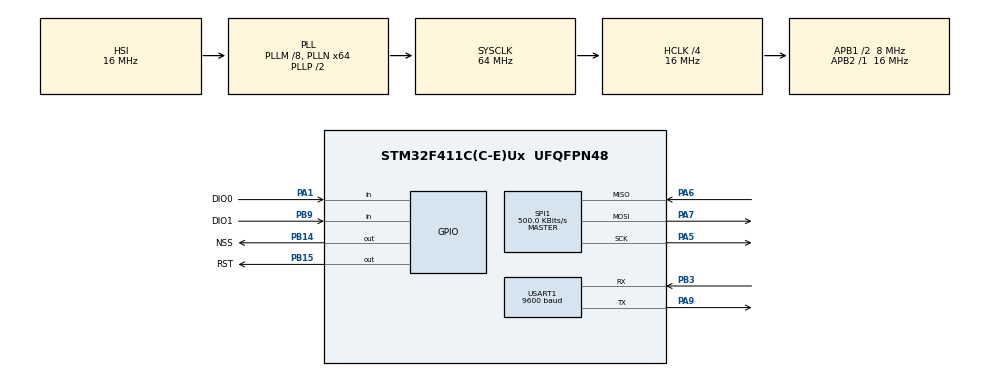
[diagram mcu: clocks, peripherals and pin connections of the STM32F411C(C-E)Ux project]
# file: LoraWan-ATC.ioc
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FREERTOS.Tasks01=defaultTask,48,256,StartDefaultTask,Default,NULL,Dynamic,NULL,NULL
Mcu.Family=STM32F4
Mcu.Name=STM32F411C(C-E)Ux
Mcu.Package=UFQFPN48
NVIC.PriorityGroup=NVIC_PRIORITYGROUP_4
PA1.GPIO_Label=DIO0
PA1.GPIO_PuPd=GPIO_NOPULL
PA1.Signal=GPIO_Input
PA13.Mode=Serial_Wire
PA13.Signal=SYS_JTMS-SWDIO
PA14.Mode=Serial_Wire
PA14.Signal=SYS_JTCK-SWCLK
PA5.GPIO_PuPd=GPIO_PULLDOWN
PA5.Mode=Full_Duplex_Master
PA5.Signal=SPI1_SCK
PA6.Mode=Full_Duplex_Master
PA6.Signal=SPI1_MISO
PA7.GPIO_PuPd=GPIO_NOPULL
PA7.Mode=Full_Duplex_Master
PA7.Signal=SPI1_MOSI
PA9.Mode=Asynchronous
PA9.Signal=USART1_TX
PB14.GPIO_Label=NSS
PB14.GPIO_ModeDefaultOutputPP=GPIO_MODE_OUTPUT_OD
PB14.GPIO_PuPd=GPIO_NOPULL
PB14.GPIO_Speed=GPIO_SPEED_FREQ_VERY_HIGH
PB14.Signal=GPIO_Output
PB15.GPIO_Label=RST
PB15.GPIO_ModeDefaultOutputPP=GPIO_MODE_OUTPUT_OD
PB15.GPIO_PuPd=GPIO_NOPULL
PB15.GPIO_Speed=GPIO_SPEED_FREQ_VERY_HIGH
PB15.Signal=GPIO_Output
PB3.Mode=Asynchronous
PB3.Signal=USART1_RX
PB9.GPIO_Label=DIO1
PB9.GPIO_PuPd=GPIO_NOPULL
PB9.Signal=GPIO_Input
PC14-OSC32_IN.Mode=LSE-External-Oscillator
PC14-OSC32_IN.Signal=RCC_OSC32_IN
PC15-OSC32_OUT.Mode=LSE-External-Oscillator
PC15-OSC32_OUT.Signal=RCC_OSC32_OUT
PH0\ -\ OSC_IN.Mode=HSE-External-Oscillator
PH0\ -\ OSC_IN.Signal=RCC_OSC_IN
PH1\ -\ OSC_OUT.Mode=HSE-External-Oscillator
PH1\ -\ OSC_OUT.Signal=RCC_OSC_OUT
ProjectManager.HeapSize=0x200
ProjectManager.StackSize=0x400
ProjectManager.TargetToolchain=STM32CubeIDE
RCC.48MHZClocksFreq_Value=32000000
RCC.AHBCLKDivider=RCC_SYSCLK_DIV4
RCC.AHBFreq_Value=16000000
RCC.APB1CLKDivider=RCC_HCLK_DIV2
RCC.APB1Freq_Value=8000000
RCC.APB1TimFreq_Value=16000000
RCC.APB2Freq_Value=16000000
RCC.APB2TimFreq_Value=16000000
RCC.CortexFreq_Value=16000000
RCC.HCLKFreq_Value=16000000
RCC.HSE_VALUE=25000000
RCC.HSI_VALUE=16000000
RCC.PLLM=8
RCC.PLLN=64
RCC.SYSCLKFreq_VALUE=64000000
RCC.SYSCLKSource=RCC_SYSCLKSOURCE_PLLCLK
RCC.VCOOutputFreq_Value=128000000
SPI1.BaudRatePrescaler=SPI_BAUDRATEPRESCALER_32
SPI1.CLKPhase=SPI_PHASE_1EDGE
SPI1.CLKPolarity=SPI_POLARITY_LOW
SPI1.CRCCalculation=SPI_CRCCALCULATION_DISABLE
SPI1.CalculateBaudRate=500.0 KBits/s
SPI1.Direction=SPI_DIRECTION_2LINES
SPI1.Mode=SPI_MODE_MASTER
SPI1.VirtualType=VM_MASTER
USART1.BaudRate=9600
USART1.VirtualMode=VM_ASYNC
VP_FREERTOS_VS_CMSIS_V2.Mode=CMSIS_V2
board=custom

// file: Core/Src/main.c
/* USER CODE BEGIN Header */
/**
  ******************************************************************************
  * @file           : main.c
  * @brief          : Main program body
  ******************************************************************************
  * @attention
  *
  * Copyright (c) 2022 STMicroelectronics.
  * All rights reserved.
  *
  * This software is licensed under terms that can be found in the LICENSE file
  * in the root directory of this software component.
  * If no LICENSE file comes with this software, it is provided AS-IS.
  *
  ******************************************************************************
  */
/* USER CODE END Header */
#include "main.h"
#include "cmsis_os.h"
#include "spi.h"
#include "usart.h"
#include "gpio.h"

/* USER CODE BEGIN Includes */
#include "Struct.h"
/* USER CODE END Includes */

void SystemClock_Config(void);
void MX_FREERTOS_Init(void);

/* USER CODE BEGIN 0 */
sRFM_pins RFM_pins = {
 .CS = NSS_Pin,
 .CS_Port = NSS_GPIO_Port,
 .RST = RST_Pin ,
 .RST_Port = RST_GPIO_Port,
 .DIO0 = DIO0_Pin ,
 .DIO0_Port = DIO0_GPIO_Port,
 .DIO1 = DIO1_Pin ,
 .DIO1_Port = DIO1_GPIO_Port
};
/* USER CODE END 0 */

int main(void)
{

  /* MCU Configuration--------------------------------------------------------*/

  /* Reset of all peripherals, Initializes the Flash interface and the Systick. */
  HAL_Init();

  /* Configure the system clock */
  SystemClock_Config();

  /* Initialize all configured peripherals */
  MX_GPIO_Init();
  MX_SPI1_Init();
  MX_USART1_UART_Init();

  /* Init scheduler */
  osKernelInitialize();  /* Call init function for freertos objects (in freertos.c) */
  MX_FREERTOS_Init();
  /* Start scheduler */
  osKernelStart();

  /* We should never get here as control is now taken by the scheduler */
  /* Infinite loop */
  while (1)
  {

  }
}

void SystemClock_Config(void)
{
  RCC_OscInitTypeDef RCC_OscInitStruct = {0};
  RCC_ClkInitTypeDef RCC_ClkInitStruct = {0};

  /** Configure the main internal regulator output voltage
  */
  __HAL_RCC_PWR_CLK_ENABLE();
  __HAL_PWR_VOLTAGESCALING_CONFIG(PWR_REGULATOR_VOLTAGE_SCALE1);
  /** Initializes the RCC Oscillators according to the specified parameters
  * in the RCC_OscInitTypeDef structure.
  */
  RCC_OscInitStruct.OscillatorType = RCC_OSCILLATORTYPE_HSI;
  RCC_OscInitStruct.HSIState = RCC_HSI_ON;
  RCC_OscInitStruct.HSICalibrationValue = RCC_HSICALIBRATION_DEFAULT;
  RCC_OscInitStruct.PLL.PLLState = RCC_PLL_ON;
  RCC_OscInitStruct.PLL.PLLSource = RCC_PLLSOURCE_HSI;
  RCC_OscInitStruct.PLL.PLLM = 8;
  RCC_OscInitStruct.PLL.PLLN = 64;
  RCC_OscInitStruct.PLL.PLLP = RCC_PLLP_DIV2;
  RCC_OscInitStruct.PLL.PLLQ = 4;
  if (HAL_RCC_OscConfig(&RCC_OscInitStruct) != HAL_OK)
  {
    Error_Handler();
  }
  /** Initializes the CPU, AHB and APB buses clocks
  */
  RCC_ClkInitStruct.ClockType = RCC_CLOCKTYPE_HCLK|RCC_CLOCKTYPE_SYSCLK
                              |RCC_CLOCKTYPE_PCLK1|RCC_CLOCKTYPE_PCLK2;
  RCC_ClkInitStruct.SYSCLKSource = RCC_SYSCLKSOURCE_PLLCLK;
  RCC_ClkInitStruct.AHBCLKDivider = RCC_SYSCLK_DIV4;
  RCC_ClkInitStruct.APB1CLKDivider = RCC_HCLK_DIV2;
  RCC_ClkInitStruct.APB2CLKDivider = RCC_HCLK_DIV1;

  if (HAL_RCC_ClockConfig(&RCC_ClkInitStruct, FLASH_LATENCY_0) != HAL_OK)
  {
    Error_Handler();
  }
}

void Error_Handler(void)
{
  __disable_irq();
  while (1)
  {
  }
}

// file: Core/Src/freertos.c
/* USER CODE BEGIN Header */
/**
  ******************************************************************************
  * File Name          : freertos.c
  * Description        : Code for freertos applications
  ******************************************************************************
  * @attention
  *
  * Copyright (c) 2022 STMicroelectronics.
  * All rights reserved.
  *
  * This software is licensed under terms that can be found in the LICENSE file
  * in the root directory of this software component.
  * If no LICENSE file comes with this software, it is provided AS-IS.
  *
  ******************************************************************************
  */
/* USER CODE END Header */

#include "FreeRTOS.h"
#include "task.h"
#include "main.h"
#include "cmsis_os.h"

/* USER CODE BEGIN Includes */
#include <stdio.h>
#include <string.h>
#include "credentials.h"
#include "spi.h"
#include "usart.h"
#include "gpio.h"
#include "debug.h"
#include "Struct.h"
#include "hal.h"
#include "lorawan-arduino-rfm.h"
/* USER CODE END Includes */

/* USER CODE BEGIN PM */
const char *devAddr = "00000000";                         //coloque aqui seu dev_addr
const char *nwkSKey = "00000000000000000000000000000000"; //coloque aqui sua network session key
const char *appSKey = "00000000000000000000000000000000"; //coloque aqui sua application session key

#define IS_CHANNEL_125khz(c) (c<64)
#define IS_CHANNEL_500khz(c) (c>=64 && c<72)

char myStr[50];
char outStr[255];
uint8_t recvStatus = 0;

const unsigned long interval = 15000;    // 10 s interval to send message
unsigned long previousMillis = 0;  // will store last time message sent
unsigned int counter = 0;     // message counter
/* USER CODE END PM */

/* Definitions for defaultTask */
osThreadId_t defaultTaskHandle;
const osThreadAttr_t defaultTask_attributes = {
  .name = "defaultTask",
  .stack_size = 256 * 4,
  .priority = (osPriority_t) osPriorityRealtime,
};

void StartDefaultTask(void *argument);

void MX_FREERTOS_Init(void); /* (MISRA C 2004 rule 8.1) */

void MX_FREERTOS_Init(void) {

  /* Create the thread(s) */
  /* creation of defaultTask */
  defaultTaskHandle = osThreadNew(StartDefaultTask, NULL, &defaultTask_attributes);

}

void StartDefaultTask(void *argument)
{
  /* USER CODE BEGIN StartDefaultTask */
	debug_init();
	/* USER CODE BEGIN 2 */
	if(!init()){
		debug_str("RFM95 not detected");
		for(;;){
			osDelay(5000);
		}
	}
	// Set LoRaWAN Class change CLASS_A or CLASS_C
	setDeviceClass(CLASS_A);
	// Set Data Rate
	setDataRate(SF8BW125);
	// set channel to random
	setChannel(MULTI);

	// Put ABP Key and DevAddress here
	setNwkSKey(nwkSKey);
	setAppSKey(appSKey);
	setDevAddr(devAddr);
  /* Infinite loop */
	previousMillis = millis()  - interval - 2000;
  for(;;)
  {
	if(millis() - previousMillis > interval) {
	  previousMillis = millis();
	  sprintf(myStr, "Counter %d\r\n", counter);

	  debug_str("\r\n");
	  debug_str("Sending: ");
	  debug_str(myStr);

	  sendUplink(myStr, strlen(myStr), 0, 1);
	  counter++;

	  // Check Lora RX
	  update();
	}

	recvStatus = readData(outStr);
	if(recvStatus) {
		debug_str("Downlink: ");
		debug_str(outStr);
	}

	osDelay(100);
  }
  /* USER CODE END StartDefaultTask */
}
